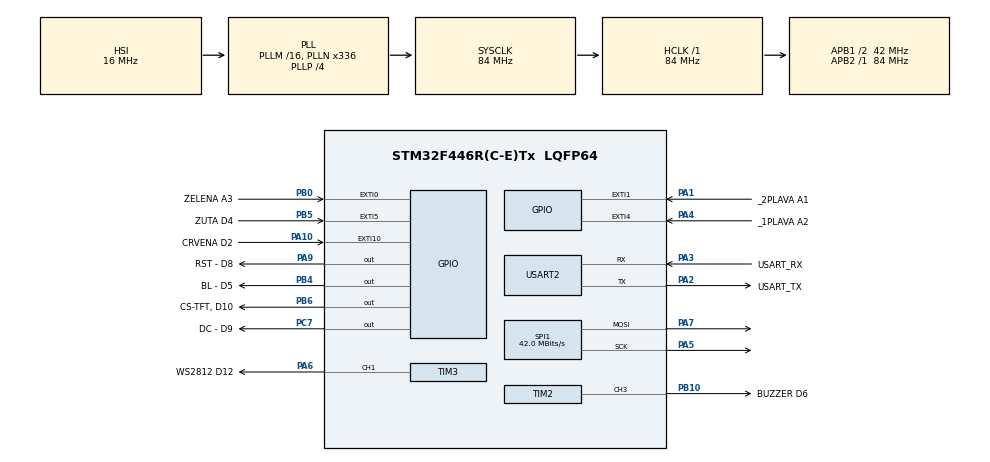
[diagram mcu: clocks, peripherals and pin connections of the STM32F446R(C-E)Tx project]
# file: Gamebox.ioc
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Dma.Request0=TIM3_CH1/TRIG
Dma.TIM3_CH1/TRIG.0.Direction=DMA_MEMORY_TO_PERIPH
Dma.TIM3_CH1/TRIG.0.FIFOMode=DMA_FIFOMODE_DISABLE
Dma.TIM3_CH1/TRIG.0.Instance=DMA1_Stream4
Dma.TIM3_CH1/TRIG.0.MemDataAlignment=DMA_MDATAALIGN_HALFWORD
Dma.TIM3_CH1/TRIG.0.MemInc=DMA_MINC_ENABLE
Dma.TIM3_CH1/TRIG.0.Mode=DMA_NORMAL
Dma.TIM3_CH1/TRIG.0.PeriphDataAlignment=DMA_PDATAALIGN_HALFWORD
Dma.TIM3_CH1/TRIG.0.PeriphInc=DMA_PINC_DISABLE
Dma.TIM3_CH1/TRIG.0.Priority=DMA_PRIORITY_HIGH
Mcu.Family=STM32F4
Mcu.Name=STM32F446R(C-E)Tx
Mcu.Package=LQFP64
NVIC.DMA1_Stream4_IRQn=true\:0\:0\:false\:false\:true\:false\:true\:true
NVIC.EXTI0_IRQn=true\:0\:0\:false\:false\:true\:true\:true\:true
NVIC.EXTI15_10_IRQn=true\:0\:0\:false\:false\:true\:true\:true\:true
NVIC.EXTI1_IRQn=true\:0\:0\:false\:false\:true\:true\:true\:true
NVIC.EXTI4_IRQn=true\:0\:0\:false\:false\:true\:true\:true\:true
NVIC.EXTI9_5_IRQn=true\:0\:0\:false\:false\:true\:true\:true\:true
NVIC.PriorityGroup=NVIC_PRIORITYGROUP_0
PA1.GPIO_Label=_2PLAVA A1 
PA1.GPIO_ModeDefaultEXTI=GPIO_MODE_IT_FALLING
PA1.GPIO_PuPd=GPIO_PULLUP
PA1.Signal=GPXTI1
PA10.GPIO_Label=CRVENA D2
PA10.GPIO_ModeDefaultEXTI=GPIO_MODE_IT_FALLING
PA10.GPIO_PuPd=GPIO_PULLUP
PA10.Signal=GPXTI10
PA14.GPIO_Label=TCK
PA14.Signal=SYS_JTCK-SWCLK
PA2.GPIO_Label=USART_TX
PA2.Mode=Asynchronous
PA2.Signal=USART2_TX
PA3.GPIO_Label=USART_RX
PA3.Mode=Asynchronous
PA3.Signal=USART2_RX
PA4.GPIO_Label=_1PLAVA A2
PA4.GPIO_ModeDefaultEXTI=GPIO_MODE_IT_FALLING
PA4.GPIO_PuPd=GPIO_PULLUP
PA4.Signal=GPXTI4
PA5.Mode=TX_Only_Simplex_Unidirect_Master
PA5.Signal=SPI1_SCK
PA6.GPIO_Label=WS2812 D12
PA6.GPIO_Speed=GPIO_SPEED_FREQ_VERY_HIGH
PA6.Signal=S_TIM3_CH1
PA7.Mode=TX_Only_Simplex_Unidirect_Master
PA7.Signal=SPI1_MOSI
PA9.GPIO_Label=RST - D8
PA9.PinState=GPIO_PIN_SET
PA9.Signal=GPIO_Output
PB0.GPIO_Label=ZELENA A3
PB0.GPIO_ModeDefaultEXTI=GPIO_MODE_IT_FALLING
PB0.GPIO_PuPd=GPIO_PULLUP
PB0.Signal=GPXTI0
PB10.GPIO_Label=BUZZER D6
PB10.Signal=S_TIM2_CH3
PB3.GPIO_Label=SWO
PB3.Signal=SYS_JTDO-SWO
PB4.GPIO_Label=BL - D5
PB4.PinState=GPIO_PIN_SET
PB4.Signal=GPIO_Output
PB5.GPIO_Label=ZUTA D4
PB5.GPIO_ModeDefaultEXTI=GPIO_MODE_IT_FALLING
PB5.GPIO_PuPd=GPIO_PULLUP
PB5.Signal=GPXTI5
PB6.GPIO_Label=CS-TFT, D10
PB6.PinState=GPIO_PIN_SET
PB6.Signal=GPIO_Output
PC14-OSC32_IN.Mode=LSE-External-Oscillator
PC14-OSC32_IN.Signal=RCC_OSC32_IN
PC15-OSC32_OUT.Mode=LSE-External-Oscillator
PC15-OSC32_OUT.Signal=RCC_OSC32_OUT
PC7.GPIO_Label=DC - D9
PC7.PinState=GPIO_PIN_SET
PC7.Signal=GPIO_Output
PH0-OSC_IN.Mode=HSE-External-Oscillator
PH0-OSC_IN.Signal=RCC_OSC_IN
PH1-OSC_OUT.Mode=HSE-External-Oscillator
PH1-OSC_OUT.Signal=RCC_OSC_OUT
ProjectManager.HeapSize=0x200
ProjectManager.StackSize=0x400
ProjectManager.TargetToolchain=STM32CubeIDE
RCC.48MHZClocksFreq_Value=84000000
RCC.AHBFreq_Value=84000000
RCC.APB1CLKDivider=RCC_HCLK_DIV2
RCC.APB1Freq_Value=42000000
RCC.APB1TimFreq_Value=84000000
RCC.APB2Freq_Value=84000000
RCC.APB2TimFreq_Value=84000000
RCC.CortexFreq_Value=84000000
RCC.FLatency-AdvancedSettings=FLASH_LATENCY_2
RCC.HCLKFreq_Value=84000000
RCC.HSE_VALUE=8000000
RCC.HSI_VALUE=16000000
RCC.PLLN=336
RCC.PLLP=RCC_PLLP_DIV4
RCC.SYSCLKFreq_VALUE=84000000
RCC.SYSCLKSource=RCC_SYSCLKSOURCE_PLLCLK
RCC.USBFreq_Value=168000000
RCC.VCOOutputFreq_Value=336000000
SH.S_TIM2_CH3.0=TIM2_CH3,PWM Generation3 CH3
SH.S_TIM3_CH1.0=TIM3_CH1,PWM Generation1 CH1
SPI1.CalculateBaudRate=42.0 MBits/s
SPI1.Direction=SPI_DIRECTION_2LINES
SPI1.Mode=SPI_MODE_MASTER
SPI1.VirtualType=VM_MASTER
TIM2.Channel-PWM\ Generation3\ CH3=TIM_CHANNEL_3
TIM2.Period=499
TIM2.Prescaler=83
TIM3.AutoReloadPreload=TIM_AUTORELOAD_PRELOAD_ENABLE
TIM3.Channel-PWM\ Generation1\ CH1=TIM_CHANNEL_1
TIM3.OC1Preload_PWM=DISABLE
TIM3.Period=109
USART2.VirtualMode=VM_ASYNC
VP_TIM2_VS_ClockSourceINT.Mode=Internal
VP_TIM3_VS_ClockSourceINT.Mode=Internal
board=NUCLEO-F446RE

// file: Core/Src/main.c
/* USER CODE BEGIN Header */
/**
  ******************************************************************************
  * @file           : main.c
  * @brief          : Main program body
  ******************************************************************************
  * @attention
  *
  * Copyright (c) 2026 STMicroelectronics.
  * All rights reserved.
  *
  * This software is licensed under terms that can be found in the LICENSE file
  * in the root directory of this software component.
  * If no LICENSE file comes with this software, it is provided AS-IS.
  *
  ******************************************************************************
  */
/* USER CODE END Header */
#include "main.h"
#include "dma.h"
#include "spi.h"
#include "tim.h"
#include "usart.h"
#include "gpio.h"

/* USER CODE BEGIN Includes */

#include "ekran.h"
#include "lcd.h"
#include "buttons.h"
#include "input.h"
#include "igre.h"
#include "buzzer.h"
#include "ws2812.h"
#include "game1.h"
#include "rezultati.h"

/* USER CODE END Includes */

void SystemClock_Config(void);

int main(void)
{

  /* MCU Configuration--------------------------------------------------------*/

  /* Reset of all peripherals, Initializes the Flash interface and the Systick. */
  HAL_Init();

  /* Configure the system clock */
  SystemClock_Config();

  /* Initialize all configured peripherals */
  MX_GPIO_Init();
  MX_DMA_Init();
  MX_USART2_UART_Init();
  MX_TIM2_Init();
  MX_TIM3_Init();
  MX_SPI1_Init();
  /* USER CODE BEGIN 2 */

    LCD_Init();
    Ekran_Init();
    Buttons_Init();
    Input_Init();
    Igre_Init();
    BUZZER_Init();
    WS2812_Init();
    Rezultati_Init();

    /* Privremena provjera novog modula */

  /* USER CODE END 2 */

  /* Infinite loop */
  /* USER CODE BEGIN WHILE */
    while (1)
    {
        /*
         * INTERRUPT:
         * fizički pritisci tipki dolaze preko EXTI prekida,
         * a Input_Update obrađuje zapamćene događaje.
         */
        Input_Update();

        /*
         * State machine i logika igara.
         */
        Igre_Update();

        /*
         * Osvježavanje TFT ekrana.
         */
        Ekran();

        /*
         * TIMER:
         * neblokirajuće gašenje buzzera prema HAL_GetTick().
         */
        BUZZER_Update();

        /*
         * Kratko ograničenje brzine glavne petlje.
         * Ne koristiti 100 ms jer bi tipke i igra kasnile.
         */
        HAL_Delay(10);
    }
    /* USER CODE END WHILE */

}

void SystemClock_Config(void)
{
  RCC_OscInitTypeDef RCC_OscInitStruct = {0};
  RCC_ClkInitTypeDef RCC_ClkInitStruct = {0};

  /** Configure the main internal regulator output voltage
  */
  __HAL_RCC_PWR_CLK_ENABLE();
  __HAL_PWR_VOLTAGESCALING_CONFIG(PWR_REGULATOR_VOLTAGE_SCALE3);

  /** Initializes the RCC Oscillators according to the specified parameters
  * in the RCC_OscInitTypeDef structure.
  */
  RCC_OscInitStruct.OscillatorType = RCC_OSCILLATORTYPE_HSI;
  RCC_OscInitStruct.HSIState = RCC_HSI_ON;
  RCC_OscInitStruct.HSICalibrationValue = RCC_HSICALIBRATION_DEFAULT;
  RCC_OscInitStruct.PLL.PLLState = RCC_PLL_ON;
  RCC_OscInitStruct.PLL.PLLSource = RCC_PLLSOURCE_HSI;
  RCC_OscInitStruct.PLL.PLLM = 16;
  RCC_OscInitStruct.PLL.PLLN = 336;
  RCC_OscInitStruct.PLL.PLLP = RCC_PLLP_DIV4;
  RCC_OscInitStruct.PLL.PLLQ = 2;
  RCC_OscInitStruct.PLL.PLLR = 2;
  if (HAL_RCC_OscConfig(&RCC_OscInitStruct) != HAL_OK)
  {
    Error_Handler();
  }

  /** Initializes the CPU, AHB and APB buses clocks
  */
  RCC_ClkInitStruct.ClockType = RCC_CLOCKTYPE_HCLK|RCC_CLOCKTYPE_SYSCLK
                              |RCC_CLOCKTYPE_PCLK1|RCC_CLOCKTYPE_PCLK2;
  RCC_ClkInitStruct.SYSCLKSource = RCC_SYSCLKSOURCE_PLLCLK;
  RCC_ClkInitStruct.AHBCLKDivider = RCC_SYSCLK_DIV1;
  RCC_ClkInitStruct.APB1CLKDivider = RCC_HCLK_DIV2;
  RCC_ClkInitStruct.APB2CLKDivider = RCC_HCLK_DIV1;

  if (HAL_RCC_ClockConfig(&RCC_ClkInitStruct, FLASH_LATENCY_2) != HAL_OK)
  {
    Error_Handler();
  }
}

void Error_Handler(void)
{
    __disable_irq();
    while (1)
    {
    }
}
#ifdef USE_FULL_ASSERT
/**
  * @brief  Reports the name of the source file and the source line number
  *         where the assert_param error has occurred.
  * @param  file: pointer to the source file name
  * @param  line: assert_param error line source number
  * @retval None
  */
void assert_failed(uint8_t *file, uint32_t line)
{
  /* USER CODE BEGIN 6 */

    (void)file;
    (void)line;

  /* USER CODE END 6 */
}
#endif /* USE_FULL_ASSERT */
